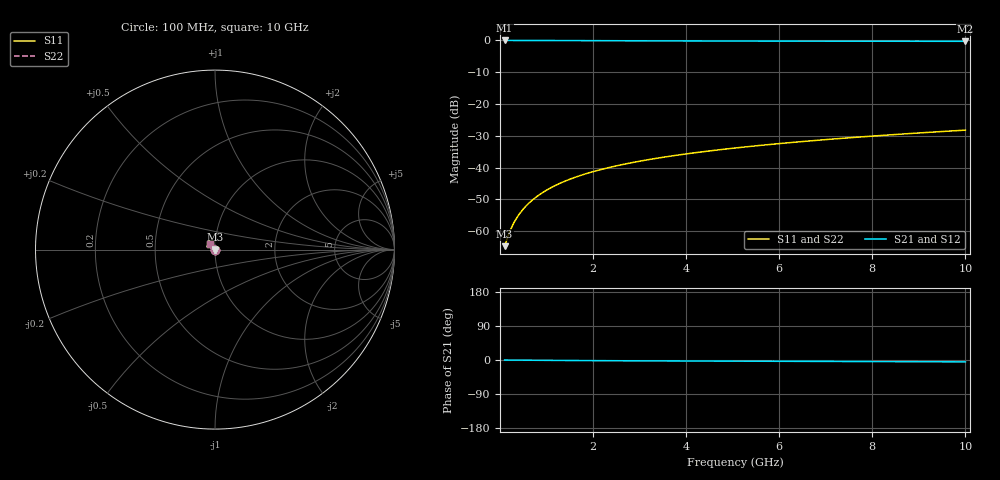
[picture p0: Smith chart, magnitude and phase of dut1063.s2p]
! Touchstone file exported from HFSS 2024.1.0
!  File:  C:/UserFiles/LocalFiles/RDL_TSV_Batchsim/temp_TSV1_1063_1780063877.aedt
!  Generated:  10:17:16 PM May 29, 2026
!  Design:  TSV1
!  Project:  temp_TSV1_1063_1780063877
!  Setup:  Setup1
!  Solution:  Sweep
! Variables:
!  dtsv = 5.71um
!  hbump = 3um
!  htsv = 66.29um
!  lrdl = 252.1521522um
!  p = 40
!  p1 = 59.14um
!  t = 500um
!  trdl = 3um
!  wrdl = 24.89489489um
# GHz S MA R 50.000000
! Terminal data exported
! Port[1] = TSV22_T1
! Port[2] = TSV22_T2
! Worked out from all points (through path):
!   100 points, 100 MHz to 10 GHz, reference 50 ohm
!   highest |S21| = 0.00 dB at 100 MHz (marker M1); lowest = -0.3 dB at 10 GHz (marker M2)
!   lowest |S11| = -64.7 dB at 100 MHz (marker M3), VSWR 1.00, Z = 50 - j0.0455 ohm
!   |S11| at or under -10 dB: start of sweep to end of sweep
!   |S22| runs from -64.7 to -28.2 dB; largest |S21 - S12| = 7.1e-15
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0.1  0.0005799 -51.7  0.9996 -0.1  0.9996 -0.1  0.0005799 -51.7
! Gamma 0 0 0 0
! Port Impedance 50 0 50 0
0.2  0.0009516 -72.4  0.9995 -0.2  0.9995 -0.2  0.0009516 -72.4
0.3  0.001364 -82.9  0.9994 -0.3  0.9994 -0.3  0.001364 -82.9
0.4  0.001791 -89.9  0.9992 -0.4  0.9992 -0.4  0.001791 -89.9
0.5  0.002225 -95.2  0.999 -0.5  0.999 -0.5  0.002225 -95.2
0.6  0.002661 -99.7  0.9987 -0.6  0.9987 -0.6  0.002661 -99.7
0.7  0.003099 -103.7  0.9984 -0.6  0.9984 -0.6  0.003099 -103.7
0.8  0.003536 -107.4  0.9981 -0.7  0.9981 -0.7  0.003536 -107.4
0.9  0.003973 -110.8  0.9977 -0.8  0.9977 -0.8  0.003973 -110.8
1.1  0.00484 -117.2  0.9969 -1.0  0.9969 -1.0  0.00484 -117.2
1.4  0.006125 -126.0  0.9955 -1.2  0.9955 -1.2  0.006125 -126.0
1.6  0.006968 -131.5  0.9945 -1.4  0.9945 -1.4  0.006968 -131.5
1.8  0.0078 -136.7  0.9934 -1.5  0.9934 -1.5  0.0078 -136.7
2.1  0.009029 -144.1  0.9917 -1.7  0.9917 -1.7  0.009029 -144.1
2.5  0.01063 -153.1  0.9895 -1.9  0.9895 -1.9  0.01063 -153.1
2.9  0.0122 -161.3  0.9873 -2.1  0.9873 -2.1  0.0122 -161.3
3.4  0.01412 -170.5  0.9848 -2.4  0.9848 -2.4  0.01412 -170.5
4.2  0.01714 176.9  0.9812 -2.7  0.9812 -2.7  0.01714 176.9
5.1  0.02049 165.5  0.9781 -3.1  0.9781 -3.1  0.02049 165.5
6.7  0.02642 150.2  0.9741 -3.7  0.9741 -3.7  0.02642 150.2
8.4  0.03276 138.7  0.9712 -4.3  0.9712 -4.3  0.03276 138.7
10  0.0388 130.7  0.9692 -4.9  0.9692 -4.9  0.0388 130.7
